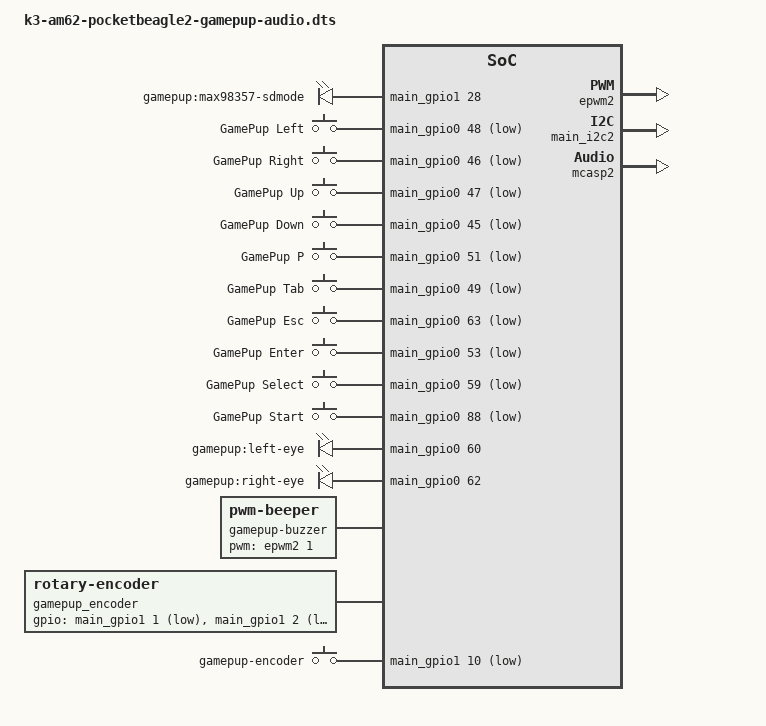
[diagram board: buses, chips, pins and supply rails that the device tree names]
// SPDX-License-Identifier: GPL-2.0-only
/*
 * Portions derived from BBORG_GAMEPUP-00A2.dts:
 * Copyright (C) 2012 Texas Instruments Incorporated - https://www.ti.com/
 */

/dts-v1/;
/plugin/;

/*
 * PocketBeagle 2 GamePup audio + controls overlay.
 *
 * Buttons, eye LEDs, PWM buzzer, EC11 encoder, MAX98357A on McASP2.
 * Display is spi0-ili9341; Click Ethernet is spi2-eth-wiz-click.
 *
 * Numeric pin cells so dtc can build without a kernel source tree.
 */

&{/chosen} {
	overlays {
		k3-am62-pocketbeagle2-gamepup-audio = "GamePup audio/controls";
		gamepup-audio = "max98357-playback-v4-dai-link";
	};
};

&main_pmx0 {
	gamepup_button_pins: gamepup-button-pins {
		pinctrl-single,pins = <
			0x00b8 0x064007 /* P2.02: left down, GPIO0_45 pull-up */
			0x00bc 0x064007 /* P2.04: left right, GPIO0_46 pull-up */
			0x00c0 0x064007 /* P2.06: left up, GPIO0_47 pull-up */
			0x00c4 0x064007 /* P2.08: left left, GPIO0_48 pull-up */
			0x00d8 0x064007 /* P2.18: right down, GPIO0_53 pull-up */
			0x00c8 0x064007 /* P2.20: right right, GPIO0_49 pull-up */
			0x0100 0x064007 /* P2.22: right up, GPIO0_63 pull-up */
			0x00d0 0x064007 /* P2.24: right left, GPIO0_51 pull-up */
			0x00f0 0x064007 /* P1.31: Select, GPIO0_59 pull-up */
			0x0168 0x064007 /* P1.35: Start, GPIO0_88 pull-up */
		>;
	};

	gamepup_eye_led_pins: gamepup-eye-led-pins {
		pinctrl-single,pins = <
			0x00f4 0x010007 /* P2.34 AA21: left eye, GPIO0_60 output */
			0x00fc 0x010007 /* P1.29 Y20: right eye, GPIO0_62 output */
		>;
	};

	gamepup_buzzer_pwm_pin: gamepup-buzzer-pwm-pin {
		pinctrl-single,pins = <
			0x01ec 0x010008 /* P1.33 A17: EHRPWM2_B output */
			0x00e4 0x200007 /* P1.33 alternate AM62x pad disable */
		>;
	};

	gamepup_encoder_ab_pins: gamepup-encoder-ab-pins {
		pinctrl-single,pins = <
			0x017c 0x060007 /* P1.19: ENC A, GPIO1_1 input pull-up */
			0x0180 0x060007 /* P1.34: ENC B, GPIO1_2 input pull-up */
		>;
	};

	gamepup_encoder_sw_pins: gamepup-encoder-sw-pins {
		pinctrl-single,pins = <
			0x01a0 0x060007 /* P1.02 E18: ENC SW, GPIO1_10 input pull-up */
			0x0164 0x200007 /* P1.02 alternate AM62x pad disabled */
		>;
	};

	/*
	 * McASP2 I2S (SoC bit/frame master), 3.3V peripherals:
	 * MAX98357A amp: P2.11 BCLK, P2.10 LRCLK, P2.05 DIN (AXR0 TX)
	 * INMP441 mic SD on P2.07 (AXR1) pinmuxed for later capture.
	 * MAX98357 SD_MODE on P1.36A (GPIO mute).
	 */
	gamepup_mcasp2_pins: gamepup-mcasp2-pins {
		pinctrl-single,pins = <
			0x01d8 0x050008 /* P2.05 C15: MCASP2_AXR0 TX (amp DIN) */
			0x01dc 0x050008 /* P2.07 E15: MCASP2_AXR1 RX (mic SD) */
			0x0174 0x050002 /* P2.10 AD21: MCASP2_AFSX (LRCLK/WS) */
			0x01d4 0x050008 /* P2.11 B15: MCASP2_ACLKX (BCLK/SCK) */
		>;
	};

	gamepup_max98357_sdmode_pin: gamepup-max98357-sdmode-pin {
		pinctrl-single,pins = <
			0x01e8 0x010007 /* P1.36A B17: GPIO1_28 SD_MODE output */
			0x00e0 0x200007 /* P1.36 V20: alternate pad disabled */
		>;
	};
};

/*
 * Clear base-tree epwm2-default-pins (claims P1.36 / EHRPWM2_A) and own only
 * EHRPWM2_B on P1.33 for the buzzer. SD_MODE needs P1.36 as GPIO.
 */
&epwm2 {
	status = "okay";
	pinctrl-names = "default";
	pinctrl-0 = <&gamepup_buzzer_pwm_pin>;
};

&main_i2c2 {
	status = "okay";
};

&mcasp2 {
	#sound-dai-cells = <0>;
	pinctrl-names = "default";
	pinctrl-0 = <&gamepup_mcasp2_pins>;
	status = "okay";
	op-mode = <0>; /* DAVINCI_MCASP_IIS_MODE */
	tdm-slots = <2>;
	auxclk-fs-ratio = <256>;
	/* AXR0 = TX (MAX98357). Remaining serializers inactive. */
	serial-dir = <
		1 0 0 0
		0 0 0 0
		0 0 0 0
		0 0 0 0
	>;
};

&{/} {
	gamepup_max98357a: gamepup-max98357a {
		compatible = "maxim,max98357a";
		#sound-dai-cells = <0>;
		status = "okay";
	};

	gamepup-max98357-sdmode {
		compatible = "gpio-leds";
		pinctrl-names = "default";
		pinctrl-0 = <&gamepup_max98357_sdmode_pin>;

		sdmode {
			label = "gamepup:max98357-sdmode";
			gpios = <&main_gpio1 28 0>;
			default-state = "on";
		};
	};

	gamepup_sound: sound-gamepup {
		compatible = "simple-audio-card";
		simple-audio-card,name = "GamePup-MAX98357";
		status = "okay";

		simple-audio-card,dai-link {
			format = "i2s";
			bitclock-master = <&gamepup_sound_cpu>;
			frame-master = <&gamepup_sound_cpu>;
			playback-only;

			gamepup_sound_cpu: cpu {
				sound-dai = <&mcasp2>;
				system-clock-direction-out;
			};

			codec {
				sound-dai = <&gamepup_max98357a>;
			};
		};
	};

	gamepup-buttons {
		compatible = "gpio-keys";
		pinctrl-names = "default";
		pinctrl-0 = <&gamepup_button_pins>;
		autorepeat;

		left-pad-left {
			label = "GamePup Left";
			linux,code = <105>;
			gpios = <&main_gpio0 48 1>;
			debounce-interval = <10>;
		};

		left-pad-right {
			label = "GamePup Right";
			linux,code = <106>;
			gpios = <&main_gpio0 46 1>;
			debounce-interval = <10>;
		};

		left-pad-up {
			label = "GamePup Up";
			linux,code = <103>;
			gpios = <&main_gpio0 47 1>;
			debounce-interval = <10>;
		};

		left-pad-down {
			label = "GamePup Down";
			linux,code = <108>;
			gpios = <&main_gpio0 45 1>;
			debounce-interval = <10>;
		};

		right-pad-left {
			label = "GamePup P";
			linux,code = <25>;
			gpios = <&main_gpio0 51 1>;
			debounce-interval = <10>;
		};

		right-pad-right {
			label = "GamePup Tab";
			linux,code = <15>;
			gpios = <&main_gpio0 49 1>;
			debounce-interval = <10>;
		};

		right-pad-up {
			label = "GamePup Esc";
			linux,code = <1>;
			gpios = <&main_gpio0 63 1>;
			debounce-interval = <10>;
		};

		right-pad-down {
			label = "GamePup Enter";
			linux,code = <28>;
			gpios = <&main_gpio0 53 1>;
			debounce-interval = <10>;
		};

		select {
			label = "GamePup Select";
			linux,code = <6>;
			gpios = <&main_gpio0 59 1>;
			debounce-interval = <10>;
		};

		start {
			label = "GamePup Start";
			linux,code = <2>;
			gpios = <&main_gpio0 88 1>;
			debounce-interval = <10>;
		};
	};

	gamepup-eye-leds {
		compatible = "gpio-leds";
		pinctrl-names = "default";
		pinctrl-0 = <&gamepup_eye_led_pins>;

		left-eye {
			label = "gamepup:left-eye";
			gpios = <&main_gpio0 60 0>;
			default-state = "off";
		};

		right-eye {
			label = "gamepup:right-eye";
			gpios = <&main_gpio0 62 0>;
			default-state = "off";
		};
	};

	gamepup-buzzer {
		compatible = "pwm-beeper";
		pwms = <&epwm2 1 250000 0>;
	};

	gamepup_encoder: gamepup-encoder {
		compatible = "rotary-encoder";
		pinctrl-names = "default";
		pinctrl-0 = <&gamepup_encoder_ab_pins>;
		gpios = <&main_gpio1 1 1>, <&main_gpio1 2 1>;
		linux,axis = <7>; /* REL_DIAL */
		rotary-encoder,relative-axis;
		rotary-encoder,steps-per-period = <4>;
		rotary-encoder,encoding = "gray";
	};

	gamepup-encoder-button {
		compatible = "gpio-keys";
		pinctrl-names = "default";
		pinctrl-0 = <&gamepup_encoder_sw_pins>;

		button {
			label = "gamepup-encoder";
			gpios = <&main_gpio1 10 1>;
			linux,code = <28>; /* KEY_ENTER */
			debounce-interval = <10>;
		};
	};
};
